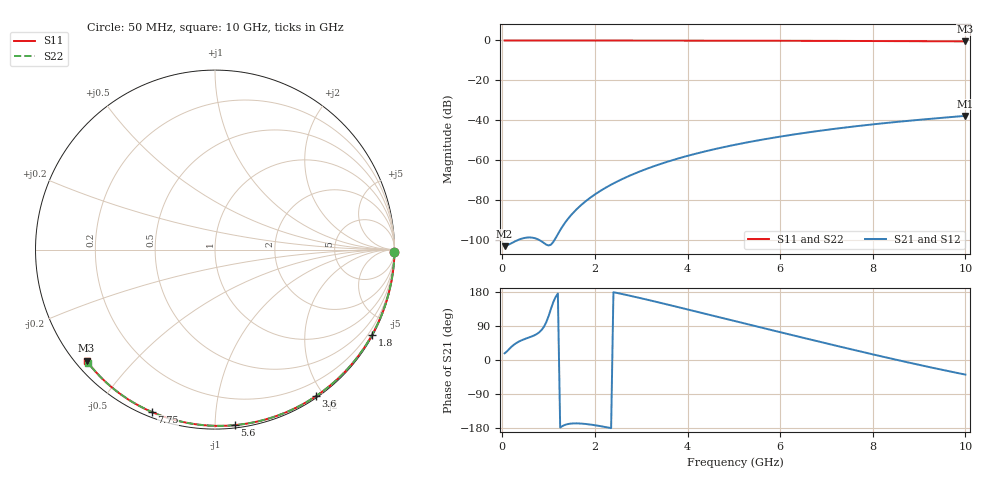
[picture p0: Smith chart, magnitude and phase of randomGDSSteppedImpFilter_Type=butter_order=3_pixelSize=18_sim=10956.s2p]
! freq	dB(S11)	phase(S11)	dB(S12)	phase(S12)
!  dB(S21)	phase(S21)	dB(S22)	phase(S22)
!S-par simulation data
#  GHz  S  DB  R 50
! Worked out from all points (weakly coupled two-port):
!   200 points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, 50 MHz to 10 GHz, reference 50 ohm
!   highest |S21| = -37.84 dB at 10 GHz (marker M1); lowest = -103.3 dB at 50 MHz (marker M2)
!   lowest |S11| = -0.5 dB at 10 GHz (marker M3), VSWR 36.27, Z = 1.57 - j18.6 ohm
!   |S11| at or under -10 dB: nowhere
!   |S22| runs from -0.5 to 0.0 dB; largest |S21 - S12| = 0
!   S11 on the Smith chart (normalised r, x): 50 MHz: open; 1.8 GHz: 0.03, -3.94; 3.6 GHz: 0.02, -1.90; 5.6 GHz: 0.02, -1.12; 7.75 GHz: 0.02, -0.68; 10 GHz: 0.03, -0.37
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0.05  -0.00 -0.8  -103.25 17.7  -103.25 17.7  -0.00 -0.8
0.45  -0.01 -7.2  -99.27 53.7  -99.27 53.7  -0.01 -7.2
0.9  -0.02 -14.4  -101.69 87.8  -101.69 87.8  -0.02 -14.3
1.75  -0.04 -27.7  -81.66 -168.2  -81.66 -168.2  -0.04 -27.6
1.8  -0.04 -28.4  -80.70 -168.8  -80.70 -168.8  -0.04 -28.3
1.85  -0.04 -29.2  -79.79 -169.5  -79.79 -169.5  -0.04 -29.1
2  -0.04 -31.5  -77.28 -172.1  -77.28 -172.1  -0.04 -31.4
2.15  -0.04 -33.8  -75.04 -175.2  -75.04 -175.2  -0.04 -33.7
2.35  -0.05 -36.9  -72.37 -179.8  -72.37 -179.8  -0.05 -36.8
2.55  -0.05 -39.9  -70.00 175.1  -70.00 175.1  -0.05 -39.8
2.95  -0.06 -46.0  -65.93 164.3  -65.93 164.3  -0.06 -45.8
3.4  -0.07 -52.6  -62.11 151.3  -62.11 151.3  -0.07 -52.4
3.6  -0.07 -55.6  -60.62 145.4  -60.62 145.4  -0.07 -55.3
4.3  -0.09 -65.6  -56.12 124.4  -56.12 124.4  -0.09 -65.4
5.05  -0.12 -76.1  -52.24 101.8  -52.24 101.8  -0.12 -75.8
5.6  -0.14 -83.6  -49.83 85.3  -49.83 85.3  -0.14 -83.3
6.15  -0.16 -90.9  -47.71 68.9  -47.71 68.9  -0.16 -90.5
6.7  -0.19 -98.0  -45.82 52.6  -45.82 52.6  -0.19 -97.7
7.75  -0.26 -111.3  -42.75 22.0  -42.75 22.0  -0.26 -110.9
8.35  -0.30 -118.7  -41.27 5.0  -41.27 5.0  -0.30 -118.3
9.15  -0.38 -128.6  -39.52 -16.8  -39.52 -16.8  -0.38 -128.0
10  -0.48 -139.2  -37.84 -38.5  -37.84 -38.5  -0.47 -138.2
